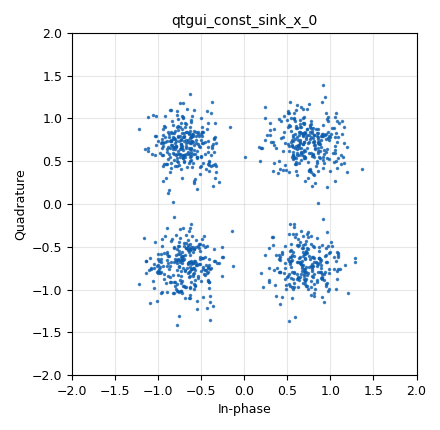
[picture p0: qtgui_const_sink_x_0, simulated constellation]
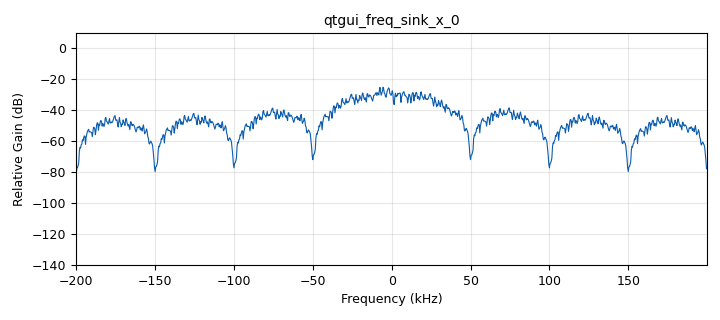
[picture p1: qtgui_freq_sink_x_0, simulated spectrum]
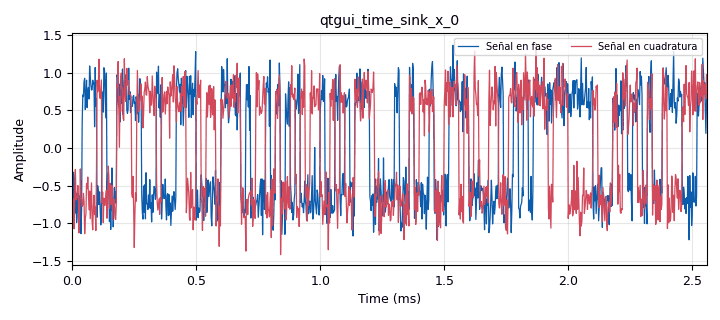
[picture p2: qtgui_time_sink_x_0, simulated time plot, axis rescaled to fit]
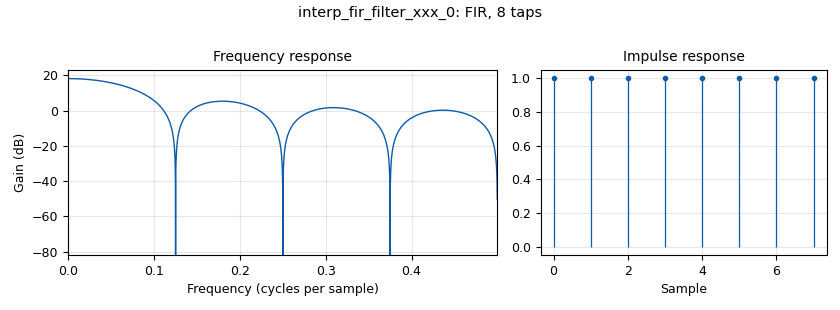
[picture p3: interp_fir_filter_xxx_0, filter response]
options:
  parameters:
    author: Jhon, Gilbert y Bryan
    generate_options: qt_gui
    id: MPSK
    output_language: python
    title: M-PSK
  states: {}

blocks:
- name: M
  id: variable
  parameters:
    value: len(tabla_de_verdad)
  states: {}
- name: N
  id: variable
  parameters:
    value: '1024'
  states: {}
- name: Rb
  id: variable
  parameters:
    value: '100000'
  states: {}
- name: Rs
  id: variable
  parameters:
    value: Rb/bps
  states: {}
- name: Sps
  id: variable
  parameters:
    value: '8'
  states: {}
- name: bps
  id: variable
  parameters:
    value: int(math.log(M,2))
  states: {}
- name: h
  id: variable
  parameters:
    value: '[1]*Sps'
  states: {}
- name: samp_rate
  id: variable
  parameters:
    value: Rs*Sps
  states: {}
- name: tabla_de_verdad
  id: variable
  parameters:
    value: '[-0.707-0.707j, -1+0j, 0+1j, -0.707+0.707j, 0-1j, 0.707-0.707j, 0.707+0.707j, 1+0j]'
  states: {state: disabled}
- name: tabla_de_verdad
  id: variable
  parameters:
    value: '[0.707+0.707j, -0.707+0.707j, 0.707-0.707j, -0.707-0.707j]'
  states: {}
- name: tabla_de_verdad
  id: variable
  parameters:
    value: '[1+0j, 0.923-0.382j, 0.382-0.923j, 0.707-0.707j, -0.923-0.382j, -0.707-0.707j, 0-1j, -0.382-0.923j, 0.923+0.382j, 0.707+0.707j, 0+1j, 0.382+0.923j, -1+0j, -0.923+0.382j, -0.382+0.923j, -0.707+0.707j]'
  states: {state: disabled}
- name: analog_noise_source_x_0
  id: analog_noise_source_x
  parameters:
    amp: '0.3'
    noise_type: analog.GR_GAUSSIAN
    seed: '0'
    type: complex
  states: {}
- name: analog_random_source_x_0
  id: analog_random_source_x
  parameters:
    max: '2'
    min: '0'
    num_samps: '1000'
    repeat: 'True'
    type: byte
  states: {}
- name: blocks_add_xx_0
  id: blocks_add_xx
  parameters:
    type: complex
  states: {}
- name: blocks_pack_k_bits_bb_0
  id: blocks_pack_k_bits_bb
  parameters:
    k: '8'
  states: {}
- name: blocks_packed_to_unpacked_xx_0
  id: blocks_packed_to_unpacked_xx
  parameters:
    bits_per_chunk: bps
    endianness: gr.GR_MSB_FIRST
    type: byte
  states: {}
- name: blocks_vector_source_x_0
  id: blocks_vector_source_x
  parameters:
    repeat: 'True'
    type: int
    vector: (5,2,1,2,7,0)
  states: {state: disabled}
- name: digital_chunks_to_symbols_xx_0
  id: digital_chunks_to_symbols_xx
  parameters:
    dimension: '1'
    in_type: byte
    out_type: complex
    symbol_table: tabla_de_verdad
  states: {}
- name: import_0
  id: import
  parameters:
    imports: import math
  states: {}
- name: interp_fir_filter_xxx_0
  id: interp_fir_filter_xxx
  parameters:
    interp: Sps
    taps: h
    type: ccc
  states: {}
- name: qtgui_const_sink_x_0
  id: qtgui_const_sink_x
  parameters:
    size: N
    type: complex
  states: {}
- name: qtgui_freq_sink_x_0
  id: qtgui_freq_sink_x
  parameters:
    average: '0.05'
    bw: samp_rate
    fc: '0'
    fftsize: N
    type: complex
    wintype: firdes.WIN_BLACKMAN_hARRIS
  states: {}
- name: qtgui_time_sink_x_0
  id: qtgui_time_sink_x
  parameters:
    label1: Señal en fase
    label2: Señal en cuadratura
    size: N
    srate: samp_rate
    type: complex
  states: {}
- name: virtual_sink_0
  id: virtual_sink
  parameters:
    stream_id: p1
  states: {}
- name: virtual_sink_1
  id: virtual_sink
  parameters:
    stream_id: p0
  states: {}
- name: virtual_source_0
  id: virtual_source
  parameters:
    stream_id: p1
  states: {}
- name: virtual_source_1
  id: virtual_source
  parameters:
    stream_id: p0
  states: {}

connections:
- [analog_noise_source_x_0, '0', blocks_add_xx_0, '1']
- [analog_random_source_x_0, '0', blocks_pack_k_bits_bb_0, '0']
- [blocks_add_xx_0, '0', virtual_sink_0, '0']
- [blocks_pack_k_bits_bb_0, '0', blocks_packed_to_unpacked_xx_0, '0']
- [blocks_packed_to_unpacked_xx_0, '0', digital_chunks_to_symbols_xx_0, '0']
- [digital_chunks_to_symbols_xx_0, '0', interp_fir_filter_xxx_0, '0']
- [interp_fir_filter_xxx_0, '0', blocks_add_xx_0, '0']
- [interp_fir_filter_xxx_0, '0', virtual_sink_1, '0']
- [virtual_source_0, '0', qtgui_const_sink_x_0, '0']
- [virtual_source_0, '0', qtgui_time_sink_x_0, '0']
- [virtual_source_1, '0', qtgui_freq_sink_x_0, '0']

metadata:
  file_format: 1
